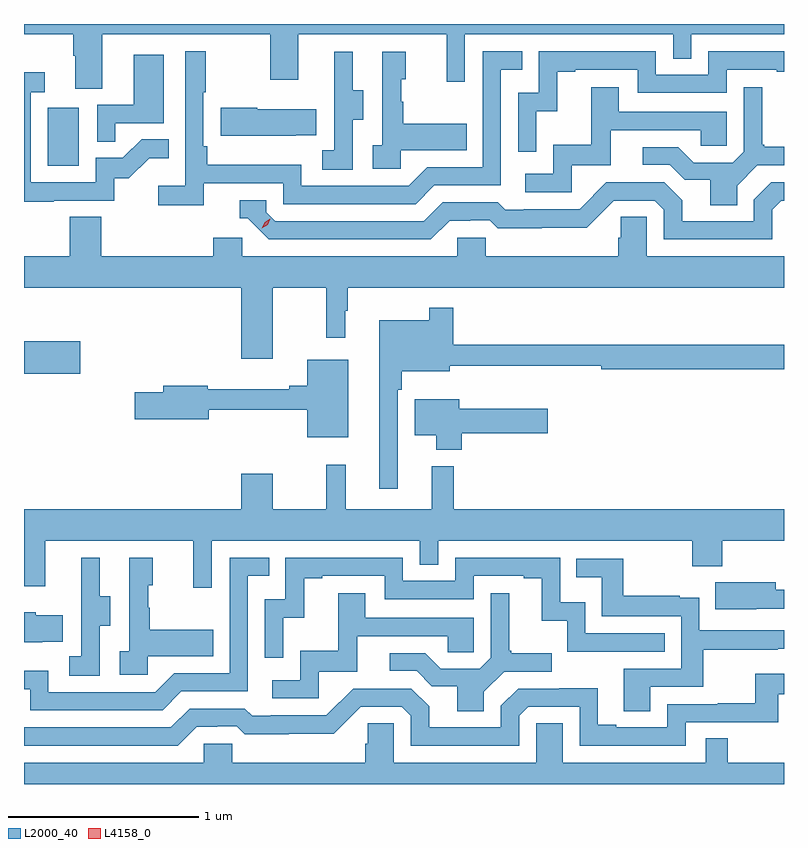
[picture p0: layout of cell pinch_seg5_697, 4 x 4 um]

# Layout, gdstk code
import gdstk
lib = gdstk.Library(unit=1e-6, precision=1e-09)
def R(c, l, rs):  # rectangles x0, y0, x1, y1
    for r in rs: c.add(gdstk.rectangle(r[:2], r[2:], *l))
def P(c, l, *ps):  # polygons
    for p in ps: c.add(gdstk.Polygon(p, *l))
L2000_40 = (2000, 40)
L4158_0 = (4158, 0)

pinch_seg5_697 = lib.new_cell('pinch_seg5_697')
R(pinch_seg5_697, L2000_40, [(1134.892,836.327,1135.189,836.497), (1135.016,837.42,1135.18,837.727)])
P(pinch_seg5_697, L2000_40, [(1135.303,838.112),(1136.188,838.112),(1136.188,837.873),(1136.335,837.873),(1136.335,838.112),(1137.116,838.112),(1137.116,837.864),(1137.213,837.864),(1137.213,838.112),(1138.308,838.112),(1138.308,837.985),(1138.404,837.985),(1138.404,838.112),(1138.892,838.112),(1138.892,838.167),(1134.892,838.167),(1134.892,838.112),(1135.151,838.112),(1135.151,838),(1135.163,838),(1135.163,837.826),(1135.303,837.826)],
  [(1135.838,837.33),(1136.256,837.33),(1136.256,837.219),(1136.953,837.219),(1137.052,837.318),(1137.402,837.318),(1137.402,837.927),(1137.515,837.927),(1137.515,838.023),(1137.306,838.023),(1137.306,837.414),(1137.015,837.414),(1136.916,837.315),(1136.352,837.315),(1136.352,837.427),(1135.856,837.427),(1135.856,837.523),(1135.836,837.523),(1135.836,837.808),(1135.849,837.808),(1135.849,838.024),(1135.74,838.024),(1135.74,837.316),(1135.599,837.316),(1135.599,837.214),(1135.838,837.214)],
  [(1137.588,837.707),(1137.698,837.707),(1137.698,837.915),(1137.793,837.915),(1137.793,837.927),(1138.122,837.927),(1138.122,837.804),(1138.59,837.804),(1138.59,837.927),(1138.853,837.927),(1138.853,837.915),(1138.892,837.915),(1138.892,838.023),(1138.494,838.023),(1138.494,837.9),(1138.218,837.9),(1138.218,838.023),(1137.6,838.023),(1137.6,837.804),(1137.492,837.804),(1137.492,837.495),(1137.588,837.495)],
  [(1136.874,837.503),(1137.221,837.503),(1137.221,837.643),(1136.887,837.643),(1136.887,837.758),(1136.877,837.758),(1136.877,837.876),(1136.902,837.876),(1136.902,838.021),(1136.778,838.021),(1136.778,837.53),(1136.727,837.53),(1136.727,837.405),(1136.874,837.405)],
  [(1136.622,837.664),(1136.677,837.664),(1136.677,837.819),(1136.623,837.819),(1136.623,838.021),(1136.525,838.021),(1136.525,837.807),(1136.526,837.807),(1136.526,837.503),(1136.463,837.503),(1136.463,837.4),(1136.622,837.4)],
  [(1135.373,837.645),(1135.627,837.645),(1135.627,838.006),(1135.469,838.006),(1135.469,837.741),(1135.278,837.741),(1135.278,837.547),(1135.373,837.547)],
  [(1135.049,837.237),(1135.368,837.237),(1135.368,837.354),(1135.444,837.354),(1135.551,837.461),(1135.655,837.461),(1135.655,837.56),(1135.511,837.56),(1135.413,837.462),(1135.269,837.462),(1135.269,837.333),(1134.927,837.333),(1134.927,837.807),(1135,837.807),(1135,837.913),(1134.892,837.913),(1134.892,837.232),(1135.049,837.232)],
  [(1137.774,837.423),(1137.979,837.423),(1137.979,837.609),(1138.453,837.609),(1138.453,837.525),(1138.59,837.525),(1138.59,837.705),(1138.021,837.705),(1138.021,837.835),(1137.877,837.835),(1137.877,837.532),(1137.678,837.532),(1137.678,837.378),(1137.531,837.378),(1137.531,837.282),(1137.774,837.282)],
  [(1138.645,837.316),(1138.752,837.423),(1138.892,837.423),(1138.892,837.52),(1138.789,837.52),(1138.789,837.532),(1138.777,837.532),(1138.777,837.835),(1138.68,837.835),(1138.68,837.495),(1138.623,837.438),(1138.417,837.438),(1138.336,837.519),(1138.149,837.519),(1138.149,837.426),(1138.29,837.426),(1138.37,837.346),(1138.505,837.346),(1138.505,837.214),(1138.645,837.214)],
  [(1136.321,837.581),(1136.429,837.581),(1136.429,837.718),(1136.119,837.718),(1136.119,837.726),(1135.928,837.726),(1135.928,837.578),(1136.321,837.578)],
  [(1137.133,837.132),(1137.24,837.132),(1137.24,837.135),(1137.343,837.135),(1137.385,837.093),(1137.618,837.093),(1137.618,837.095),(1137.854,837.095),(1137.996,837.237),(1138.212,837.237),(1138.26,837.189),(1138.26,837.033),(1138.83,837.033),(1138.83,837.189),(1138.878,837.237),(1138.892,837.237),(1138.892,837.333),(1138.824,837.333),(1138.734,837.243),(1138.734,837.129),(1138.357,837.129),(1138.357,837.239),(1138.263,837.333),(1137.957,837.333),(1137.816,837.192),(1137.523,837.192),(1137.523,837.189),(1137.424,837.189),(1137.385,837.228),(1137.096,837.228),(1136.997,837.129),(1136.214,837.129),(1136.166,837.177),(1136.166,837.24),(1136.027,837.24),(1136.027,837.144),(1136.07,837.144),(1136.181,837.033),(1137.034,837.033)],
  [(1136.2,836.78),(1136.482,836.78),(1136.482,836.517),(1136.584,836.517),(1136.584,836.657),(1136.596,836.657),(1136.596,836.78),(1138.892,836.78),(1138.892,836.944),(1138.17,836.944),(1138.17,837.152),(1138.033,837.152),(1138.033,837.042),(1138.019,837.042),(1138.019,836.944),(1137.321,836.944),(1137.321,837.042),(1137.171,837.042),(1137.171,836.944),(1136.04,836.944),(1136.04,837.042),(1135.889,837.042),(1135.889,836.944),(1135.298,836.944),(1135.298,837.152),(1135.133,837.152),(1135.133,836.944),(1134.892,836.944),(1134.892,836.78),(1136.036,836.78),(1136.036,836.406),(1136.2,836.406)],
  [(1136.859,836.243),(1136.879,836.243),(1136.879,836.339),(1137.133,836.339),(1137.133,836.368),(1137.929,836.368),(1137.929,836.35),(1138.892,836.35),(1138.892,836.479),(1137.152,836.479),(1137.152,836.674),(1137.024,836.674),(1137.024,836.608),(1136.762,836.608),(1136.762,835.722),(1136.859,835.722)],
  [(1136.599,836.401),(1136.384,836.401),(1136.384,836.264),(1136.288,836.264),(1136.288,836.245),(1135.86,836.245),(1135.86,836.264),(1135.625,836.264),(1135.625,836.228),(1135.476,836.228),(1135.476,836.086),(1135.864,836.086),(1135.864,836.136),(1136.384,836.136),(1136.384,835.991),(1136.599,835.991)],
  [(1137.197,836.014),(1137.649,836.014),(1137.649,836.143),(1137.184,836.143),(1137.184,836.191),(1136.948,836.191),(1136.948,836.003),(1137.062,836.003),(1137.062,835.925),(1137.197,835.925)],
  [(1135.881,835.448),(1136.976,835.448),(1136.976,835.321),(1137.072,835.321),(1137.072,835.448),(1138.408,835.448),(1138.408,835.313),(1138.568,835.313),(1138.568,835.448),(1138.892,835.448),(1138.892,835.612),(1137.155,835.612),(1137.155,835.84),(1137.038,835.84),(1137.038,835.612),(1136.585,835.612),(1136.585,835.846),(1136.482,835.846),(1136.482,835.612),(1136.2,835.612),(1136.2,835.801),(1136.036,835.801),(1136.036,835.612),(1134.892,835.612),(1134.892,835.209),(1135.003,835.209),(1135.003,835.448),(1135.784,835.448),(1135.784,835.2),(1135.881,835.2)],
  [(1136.256,835.043),(1136.366,835.043),(1136.366,835.251),(1136.461,835.251),(1136.461,835.263),(1136.79,835.263),(1136.79,835.14),(1137.258,835.14),(1137.258,835.263),(1137.521,835.263),(1137.521,835.251),(1137.617,835.251),(1137.617,835.025),(1137.75,835.025),(1137.75,834.864),(1138.265,834.864),(1138.265,834.96),(1137.846,834.96),(1137.846,835.123),(1137.714,835.123),(1137.714,835.359),(1137.162,835.359),(1137.162,835.236),(1136.886,835.236),(1136.886,835.359),(1136.268,835.359),(1136.268,835.14),(1136.16,835.14),(1136.16,834.831),(1136.256,834.831)],
  [(1135.72,834.654),(1136.07,834.654),(1136.07,835.263),(1136.183,835.263),(1136.183,835.359),(1135.974,835.359),(1135.974,834.75),(1135.683,834.75),(1135.584,834.651),(1135.02,834.651),(1135.02,834.763),(1134.892,834.763),(1134.892,834.666),(1134.924,834.666),(1134.924,834.555),(1135.621,834.555)],
  [(1135.542,834.839),(1135.889,834.839),(1135.889,834.979),(1135.555,834.979),(1135.555,835.094),(1135.545,835.094),(1135.545,835.212),(1135.57,835.212),(1135.57,835.357),(1135.446,835.357),(1135.446,834.866),(1135.395,834.866),(1135.395,834.741),(1135.542,834.741)],
  [(1135.29,835),(1135.345,835),(1135.345,835.155),(1135.291,835.155),(1135.291,835.357),(1135.193,835.357),(1135.193,835.143),(1135.194,835.143),(1135.194,834.839),(1135.131,834.839),(1135.131,834.736),(1135.29,834.736)],
  [(1138.189,834.678),(1138.466,834.678),(1138.466,834.874),(1138.859,834.874),(1138.859,834.879),(1138.892,834.879),(1138.892,834.975),(1138.446,834.975),(1138.446,835.147),(1138.343,835.147),(1138.343,835.159),(1138.045,835.159),(1138.045,835.353),(1137.799,835.353),(1137.799,835.256),(1137.934,835.256),(1137.934,835.05),(1138.35,835.05),(1138.35,834.774),(1138.049,834.774),(1138.049,834.55),(1138.189,834.55)],
  [(1138.745,835.089),(1138.892,835.089),(1138.892,835.19),(1138.849,835.19),(1138.849,835.228),(1138.531,835.228),(1138.531,835.088),(1138.745,835.088)],
  [(1137.313,834.652),(1137.42,834.759),(1137.67,834.759),(1137.67,834.856),(1137.457,834.856),(1137.457,834.868),(1137.445,834.868),(1137.445,835.171),(1137.348,835.171),(1137.348,834.831),(1137.291,834.774),(1137.085,834.774),(1137.004,834.855),(1136.817,834.855),(1136.817,834.762),(1136.958,834.762),(1137.038,834.682),(1137.173,834.682),(1137.173,834.55),(1137.313,834.55)],
  [(1136.442,834.759),(1136.647,834.759),(1136.647,834.945),(1137.121,834.945),(1137.121,834.861),(1137.258,834.861),(1137.258,835.041),(1136.689,835.041),(1136.689,835.171),(1136.545,835.171),(1136.545,834.868),(1136.346,834.868),(1136.346,834.714),(1136.199,834.714),(1136.199,834.618),(1136.442,834.618)],
  [(1134.989,834.917),(1135.097,834.917),(1135.097,835.054),(1134.954,835.054),(1134.954,835.072),(1134.892,835.072),(1134.892,834.914),(1134.989,834.914)],
  [(1135.801,834.468),(1135.908,834.468),(1135.908,834.471),(1136.011,834.471),(1136.053,834.429),(1136.286,834.429),(1136.286,834.431),(1136.522,834.431),(1136.664,834.573),(1136.88,834.573),(1136.928,834.525),(1136.928,834.369),(1137.498,834.369),(1137.498,834.525),(1137.546,834.573),(1137.816,834.573),(1137.816,834.369),(1138.374,834.369),(1138.374,834.492),(1138.861,834.492),(1138.861,834.639),(1138.892,834.639),(1138.892,834.748),(1138.74,834.748),(1138.74,834.593),(1138.543,834.593),(1138.543,834.588),(1138.278,834.588),(1138.278,834.465),(1138.009,834.465),(1138.009,834.478),(1137.913,834.478),(1137.913,834.671),(1137.708,834.671),(1137.708,834.669),(1137.492,834.669),(1137.402,834.579),(1137.402,834.465),(1137.025,834.465),(1137.025,834.575),(1136.931,834.669),(1136.625,834.669),(1136.484,834.528),(1136.191,834.528),(1136.191,834.525),(1136.092,834.525),(1136.053,834.564),(1135.764,834.564),(1135.665,834.465),(1134.892,834.465),(1134.892,834.369),(1135.702,834.369)],
  [(1138.892,834.28),(1138.595,834.28),(1138.595,834.407),(1138.479,834.407),(1138.479,834.28),(1137.727,834.28),(1137.727,834.488),(1137.588,834.488),(1137.588,834.28),(1136.838,834.28),(1136.838,834.488),(1136.701,834.488),(1136.701,834.378),(1136.687,834.378),(1136.687,834.28),(1135.989,834.28),(1135.989,834.378),(1135.839,834.378),(1135.839,834.28),(1134.892,834.28),(1134.892,834.167),(1138.892,834.167)])
P(pinch_seg5_697, L4158_0, [(1136.143,837.091),(1136.143,837.091),(1136.159,837.124),(1136.189,837.143),(1136.189,837.143),(1136.189,837.143),(1136.174,837.11),(1136.143,837.091)])

lib.write_gds('pinch_seg5_697.gds')
